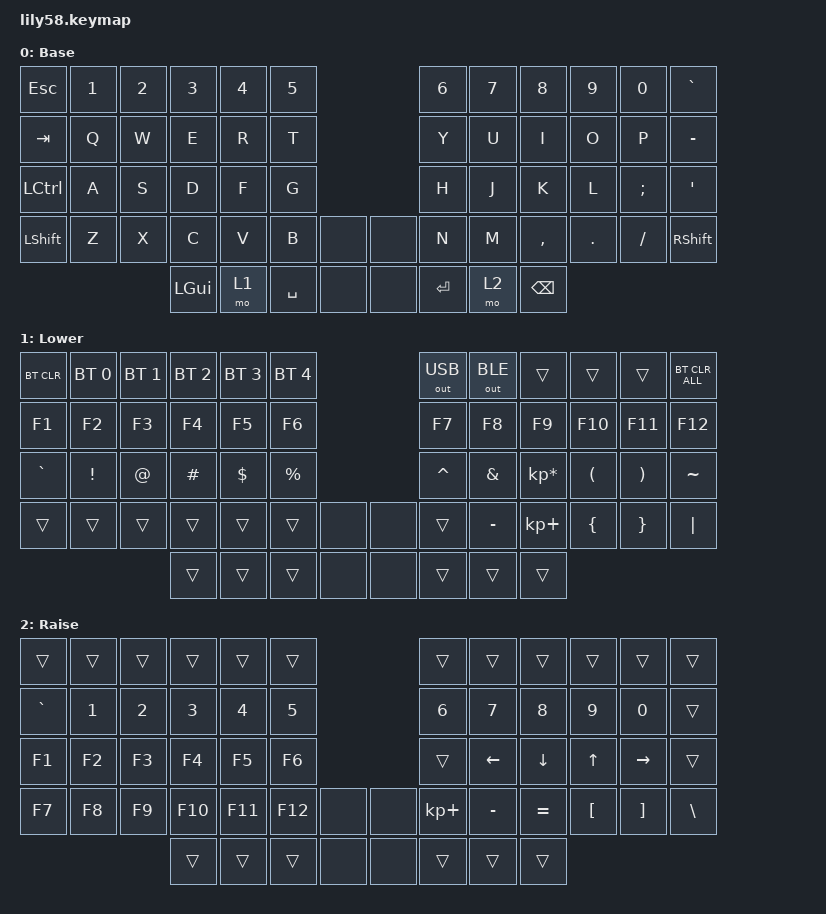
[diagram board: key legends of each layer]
/*
 * Copyright (c) 2020 The ZMK Contributors
 *
 * SPDX-License-Identifier: MIT
 */

#include <behaviors.dtsi>
#include <dt-bindings/zmk/keys.h>
#include <dt-bindings/zmk/bt.h>
#include <dt-bindings/zmk/ext_power.h>
#include <dt-bindings/zmk/outputs.h>

/ {
    keymap {
        compatible = "zmk,keymap";

        default_layer {
// ------------------------------------------------------------------------------------------------------------
// |  ESC  |  1  |  2  |  3   |  4   |  5   |                   |  6   |  7    |  8    |  9   |   0   |   BSPC   |
// |  TAB  |  B  |  L  |  D   |  C   |  V   |                   |  J   |  F    |  O    |  U   |   ,   |   -   |
// |  CTRL |  N  |  R  |  T   |  S   |  G   |                   |  Y   |  H    |  A    |  E   |   I   |   '   |
// | SHIFT |  X  |  Q  |  M   |  W   |  Z   |  n/a   |  |  n/a  |  K   |  P    |  '    |  ;   |   .   | SHIFT |
//                     | LOWER| SHIFT| ENTER|  n/a   |  |  n/a  | RAISE| SPACE | ALT  |
// Note: Silakka54 has 54 keys - the 4 positions marked n/a are not present (inner thumb + encoder positions)
            display-name = "Base";
            bindings = <
&kp ESC   &kp N1 &kp N2 &kp N3   &kp N4 &kp N5                     &kp N6  &kp N7   &kp N8    &kp N9  &kp N0   &kp GRAVE
&kp TAB   &kp Q  &kp W  &kp E    &kp R  &kp T                      &kp Y   &kp U    &kp I     &kp O   &kp P    &kp MINUS
&kp LCTRL &kp A  &kp S  &kp D    &kp F  &kp G                      &kp H   &kp J    &kp K     &kp L   &kp SEMI &kp SQT
&kp LSHFT &kp Z  &kp X  &kp C    &kp V  &kp B  &none     &none     &kp N   &kp M    &kp COMMA &kp DOT &kp FSLH &kp RSHFT
                        &kp LGUI &mo 1  &kp SPACE &none  &none     &kp RET &mo 2    &kp BSPC
            >;
        };

        lower_layer {
// ------------------------------------------------------------------------------------------------------------
// | BTCLR | BT1 | BT2 |  BT3 |  BT4 |  BT5 |                   | USB  | BLE   |       |      |       |BTCLRALL|
// |  F1   |  F2 |  F3 |  F4  |  F5  |  F6  |                   |  F7  |  F8   |  F9   |  F10 |  F11  |  F12  |
// |   `   |  !  |  @  |  #   |  $   |  %   |                   |  ^   |  &    |  *    |  (   |   )   |   ~   |
// |       |     |     |      |      |      |  n/a   |  |  n/a  |      |  _    |  +    |  {   |   }   |  "|"  |
//                     |      |      |      |  n/a   |  |  n/a  |      |       |       |
            display-name = "Lower";
            bindings = <
&bt BT_CLR &bt BT_SEL 0 &bt BT_SEL 1 &bt BT_SEL 2 &bt BT_SEL 3 &bt BT_SEL 4                 &out OUT_USB &out OUT_BLE &trans          &trans   &trans   &bt BT_CLR_ALL
&kp F1     &kp F2       &kp F3       &kp F4       &kp F5       &kp F6                       &kp F7       &kp F8       &kp F9          &kp F10  &kp F11  &kp F12
&kp GRAVE  &kp EXCL     &kp AT       &kp HASH     &kp DOLLAR   &kp PRCNT                    &kp CARET    &kp AMPS     &kp KP_MULTIPLY &kp LPAR &kp RPAR &kp TILDE
&trans     &trans       &trans       &trans       &trans       &trans    &none     &none   &trans       &kp MINUS    &kp KP_PLUS     &kp LBRC &kp RBRC &kp PIPE
                                     &trans       &trans       &trans    &none     &none   &trans       &trans       &trans
            >;
        };

        raise_layer {
// ------------------------------------------------------------------------------------------------------------
// |       |     |     |      |      |      |                   |      |       |       |      |       |       |
// |   `   |  1  |  2  |  3   |  4   |  5   |                   |  6   |   7   |   8   |  9   |   0   |       |
// |   F1  |  F2 |  F3 |  F4  |  F5  |  F6  |                   |      |   <-  |   v   |  ^   |  ->   |       |
// |   F7  |  F8 |  F9 |  F10 |  F11 |  F12 |  n/a   |  |  n/a  |  +   |   -   |   =   |  [   |   ]   |   \   |
//                     |      |      |      |  n/a   |  |  n/a  |      |       |       |
            display-name = "Raise";
            bindings = <
&trans    &trans &trans &trans  &trans  &trans                       &trans      &trans    &trans    &trans   &trans    &trans
&kp GRAVE &kp N1 &kp N2 &kp N3  &kp N4  &kp N5                       &kp N6      &kp N7    &kp N8    &kp N9   &kp N0    &trans
&kp F1    &kp F2 &kp F3 &kp F4  &kp F5  &kp F6                       &trans      &kp LEFT  &kp DOWN  &kp UP   &kp RIGHT &trans
&kp F7    &kp F8 &kp F9 &kp F10 &kp F11 &kp F12   &none     &none    &kp KP_PLUS &kp MINUS &kp EQUAL &kp LBKT &kp RBKT  &kp BSLH
                        &trans  &trans  &trans    &none     &none    &trans      &trans    &trans
            >;
        };

        extra_1 {
            status = "reserved";
        };

        extra_2 {
            status = "reserved";
        };

        extra_3 {
            status = "reserved";
        };
    };
};
